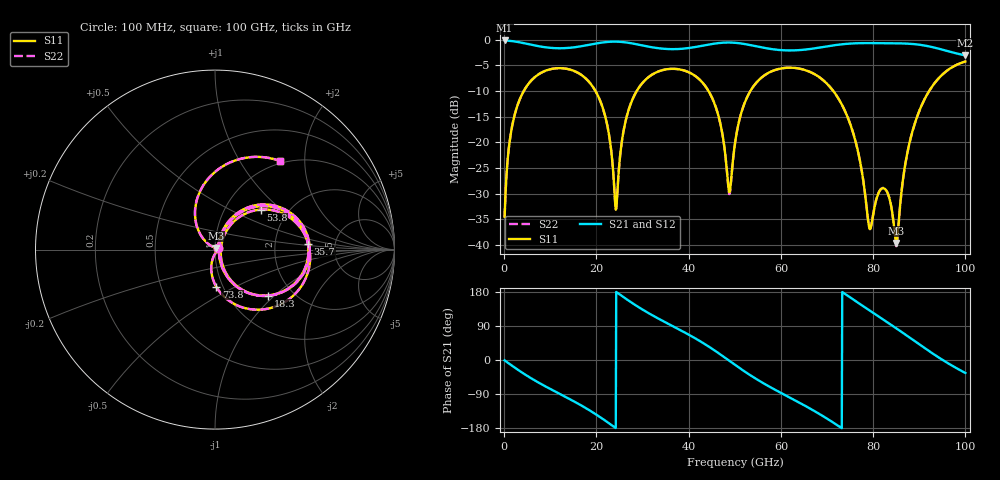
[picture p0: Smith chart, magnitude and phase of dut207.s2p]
! Touchstone file exported from HFSS 2026.1.0
!  File:  C:/ffzhzh/LocalFiles/Ansys_Project_Files/temp_train_TSV_RDL_207_1783660086_26216.aedt
!  Generated:  01:17:11 PM Jul 10, 2026
!  Design:  TSV_RDL
!  Project:  temp_train_TSV_RDL_207_1783660086_26216
! Variables:
!  h_bsmrdl = 2.98um
!  h_ox = 20um
!  h_rdl = 5um
!  h_sub = 66.54um
!  h_tmrdl = 2.61um
!  h_tsv = 66.54um
!  h_via = 3um
!  l_bsmrdl = 217.86um
!  l_sub = 2512.84um
!  l_tmrdl = 338.22um
!  m_sub = 200um
!  pitch = 43.59um
!  r_tsv = 6.31um
!  s_tmrdl = 10um
!  w_bsmrdl = 12.29um
!  w_sub = 500um
!  w_tmrdl = 23.17um
!  x_tsv_center1 = 349.805um
!  x_tsv_center2 = 579.955um
!  x_tsv_center3 = 941.345um
!  x_tsv_center4 = 1171.495um
!  x_tsv_center5 = 1532.885um
!  x_tsv_center6 = 1763.035um
# GHz S MA R 50.000000
! Terminal data exported
! Port[1] = TM_RDL1_1_T1
! Port[2] = TM_RDL5_1_T1
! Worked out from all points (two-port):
!   1000 points, 100 MHz to 100 GHz, reference 50 ohm
!   highest |S21| = -0.14 dB at 100 MHz (marker M1); lowest = -3.0 dB at 100 GHz (marker M2)
!   |S21| within 3 dB of the highest: start of sweep to end of sweep
!   lowest |S11| = -39.6 dB at 85 GHz (marker M3), VSWR 1.02, Z = 50.4 + j0.98 ohm
!   |S11| at or under -10 dB: 19.8 GHz to 28.74 GHz (8.936 GHz wide, 36.8 % of centre); 44.31 GHz to 53.38 GHz (9.068 GHz wide, 18.6 % of centre); 71.37 GHz to 92.14 GHz (20.77 GHz wide, 25.4 % of centre) (the widest 3 of 4)
!   |S22| runs from -40.2 to -4.3 dB; largest |S21 - S12| = 1.7e-14
!   S11 on the Smith chart (normalised r, x): 100 MHz: 1.03, +0.02; 18.3 GHz: 1.51, -0.92; 35.7 GHz: 3.13, +0.27; 53.8 GHz: 1.46, +0.74; 73.8 GHz: 0.93, -0.40; 100 GHz: 0.96, +1.52
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0.1  0.0188 28.2  0.9835 -0.9  0.9835 -0.9  0.0188 28.2
! Gamma 0 0 0 0
! Port Impedance 50 0 50 0
1.7  0.1417 66.6  0.9693 -15.0  0.9693 -15.0  0.1417 66.6
4.5  0.3308 48.1  0.9211 -38.0  0.9211 -38.0  0.3308 48.1
16.8  0.4519 -30.8  0.8651 -120.5  0.8651 -120.5  0.452 -30.7
18.3  0.3934 -40.8  0.89 -131.3  0.89 -131.3  0.3934 -40.8
22  0.1728 -65.5  0.9477 -160.7  0.9477 -160.7  0.1728 -65.4
24.2  0.02208 -8.4  0.9579 -179.6  0.9579 -179.6  0.02244 -8.3
27.2  0.2219 58.3  0.9295 154.9  0.9295 154.9  0.2219 58.2
33.4  0.4898 17.5  0.8267 109.5  0.8267 109.5  0.4898 17.4
35.7  0.5185 3.5  0.8105 94.7  0.8105 94.7  0.5185 3.3
44.7  0.2943 -53.2  0.9025 32.7  0.9025 32.7  0.2942 -53.5
48.8  0.03268 -8.5  0.939 -1.9  0.939 -1.9  0.03136 -8.7
50.1  0.1017 57.4  0.933 -13.1  0.933 -13.1  0.1013 58.1
53.8  0.3387 41.2  0.8786 -43.5  0.8786 -43.5  0.3386 41.3
66.7  0.4768 -39.6  0.8164 -130.7  0.8164 -130.7  0.4768 -39.6
73.8  0.2064 -88.1  0.9079 175.2  0.9079 175.2  0.2063 -88.1
79.2  0.0145 -51.4  0.927 130.9  0.927 130.9  0.0147 -51.0
83.4  0.02977 11.9  0.9242 96.8  0.9242 96.8  0.02986 10.7
85  0.01044 68.6  0.9227 83.7  0.9227 83.7  0.009744 66.5
87.2  0.0705 138.7  0.9168 65.3  0.9168 65.3  0.07005 139.4
90  0.202 122.7  0.894 41.5  0.894 41.5  0.2017 123.0
100  0.613 53.5  0.7042 -34.2  0.7042 -34.2  0.6128 53.7
